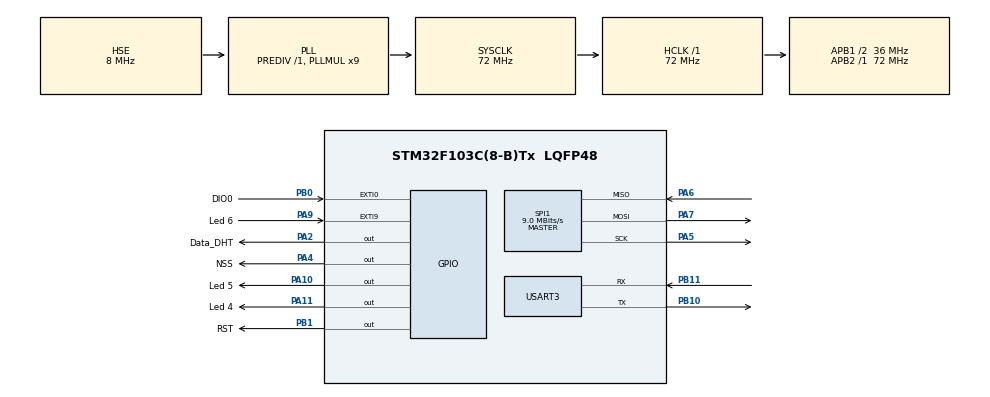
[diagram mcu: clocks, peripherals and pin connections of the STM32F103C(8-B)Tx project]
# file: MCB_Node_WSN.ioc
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Mcu.Family=STM32F1
Mcu.Name=STM32F103C(8-B)Tx
Mcu.Package=LQFP48
NVIC.EXTI0_IRQn=true\:0\:0\:false\:false\:true\:true\:true\:true
NVIC.PriorityGroup=NVIC_PRIORITYGROUP_4
NVIC.RTC_Alarm_IRQn=true\:0\:0\:false\:false\:true\:true\:true\:true
NVIC.RTC_IRQn=true\:0\:0\:false\:false\:true\:true\:true\:true
PA10.GPIO_Label=Led 5
PA10.Signal=GPIO_Output
PA11.GPIO_Label=Led 4
PA11.Signal=GPIO_Output
PA13.Mode=Serial_Wire
PA13.Signal=SYS_JTMS-SWDIO
PA14.Mode=Serial_Wire
PA14.Signal=SYS_JTCK-SWCLK
PA2.GPIO_Label=Data_DHT
PA2.Signal=GPIO_Output
PA4.GPIO_Label=NSS
PA4.Signal=GPIO_Output
PA5.Mode=Full_Duplex_Master
PA5.Signal=SPI1_SCK
PA6.Mode=Full_Duplex_Master
PA6.Signal=SPI1_MISO
PA7.Mode=Full_Duplex_Master
PA7.Signal=SPI1_MOSI
PA9.GPIO_Label=Led 6
PA9.Signal=GPXTI9
PB0.GPIO_Label=DIO0
PB0.Signal=GPXTI0
PB1.GPIO_Label=RST
PB1.Signal=GPIO_Output
PB10.Mode=Asynchronous
PB10.Signal=USART3_TX
PB11.Mode=Asynchronous
PB11.Signal=USART3_RX
PD0-OSC_IN.Mode=HSE-External-Oscillator
PD0-OSC_IN.Signal=RCC_OSC_IN
PD1-OSC_OUT.Mode=HSE-External-Oscillator
PD1-OSC_OUT.Signal=RCC_OSC_OUT
ProjectManager.HeapSize=0x200
ProjectManager.StackSize=0x400
ProjectManager.TargetToolchain=STM32CubeIDE
RCC.AHBFreq_Value=72000000
RCC.APB1CLKDivider=RCC_HCLK_DIV2
RCC.APB1Freq_Value=36000000
RCC.APB1TimFreq_Value=72000000
RCC.APB2Freq_Value=72000000
RCC.APB2TimFreq_Value=72000000
RCC.HCLKFreq_Value=72000000
RCC.PLLMUL=RCC_PLL_MUL9
RCC.PLLSourceVirtual=RCC_PLLSOURCE_HSE
RCC.SYSCLKFreq_VALUE=72000000
RCC.SYSCLKSource=RCC_SYSCLKSOURCE_PLLCLK
RCC.USBFreq_Value=72000000
SPI1.BaudRatePrescaler=SPI_BAUDRATEPRESCALER_8
SPI1.CalculateBaudRate=9.0 MBits/s
SPI1.Direction=SPI_DIRECTION_2LINES
SPI1.Mode=SPI_MODE_MASTER
SPI1.VirtualType=VM_MASTER
USART3.VirtualMode=VM_ASYNC
VP_RTC_VS_RTC_Activate.Mode=RTC_Enabled
board=custom

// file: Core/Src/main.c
/* USER CODE BEGIN Header */
/**
  ******************************************************************************
  * @file           : main.c
  * @brief          : Main program body
  ******************************************************************************
  * @attention
  *
  * Copyright (c) 2025 STMicroelectronics.
  * All rights reserved.
  *
  * This software is licensed under terms that can be found in the LICENSE file
  * in the root directory of this software component.
  * If no LICENSE file comes with this software, it is provided AS-IS.
  *
  ******************************************************************************
  */
/* USER CODE END Header */
#include "main.h"
#include "lora.h"
#include <string.h>
#include <stdio.h>
#include <stdbool.h>
#include "dht22.h"

RTC_HandleTypeDef hrtc;

SPI_HandleTypeDef hspi1;

UART_HandleTypeDef huart3;

/* USER CODE BEGIN PV */
char msg[64],buf[60];
char data_receive[80], data_th[40],data_register[30];
typedef struct {
    int id ;     // ID của Node
    float x;    // Tọa độ x
    float y;    // Tọa độ y
} Node;
Node node ={4,41.75165,42.36589};

int id_receive,stt;
int timeout_listen_request_data =0;
int restart = 0;
uint32_t now_tick,start_tick,end_tick;
float t_min, t_max, h_min, h_max,t_last,t,h;
 float T = 0, H = 0;
/* USER CODE BEGIN PV */
#ifdef	__GNUC__
		#define PUTCHAR_PROTOTYPE int	__io_putchar(int ch)
#else
		#define PUTCHAR_PROTOTYPE int fputc(int ch, FILE *f)
#endif
 PUTCHAR_PROTOTYPE
{
	HAL_UART_Transmit(&huart3, (uint8_t *)&ch,1,0xFFFF);
	return ch;
}
 lora_pins_t lora_pins;												// Structure variable for lora pins
 lora_t lora;
/* USER CODE END PV */

void SystemClock_Config(void);
static void MX_GPIO_Init(void);
static void MX_RTC_Init(void);
static void MX_SPI1_Init(void);
static void MX_USART3_UART_Init(void);

/* USER CODE BEGIN 0 */
void listen_Broadcast(void){
	//cấu hình lora
	lora_pins.dio0.port  = LORA_DIO0_PORT;
	lora_pins.dio0.pin   = LORA_DIO0_PIN;
	lora_pins.nss.port   = LORA_SS_PORT;				// NSS pin to which port is connected
	lora_pins.nss.pin    = LORA_SS_PIN;					// NSS pin to which pin is connected
	lora_pins.reset.port = LORA_RESET_PORT;			// RESET pin to which port is connected
	lora_pins.reset.pin  = LORA_RESET_PIN;			// RESET pin to which pin is connected
	lora_pins.spi  			 = &hspi1;
	lora.pin = &lora_pins;
	lora.frequency = FREQ_433MHZ;								// 433MHZ Frequency
	//lora.frequency = FREQ_865MHZ;								// 865MHZ Frequency
	//lora.frequency = FREQ_866MHZ;								// 866MHZ Frequency
	//lora.frequency = FREQ_867MHZ;								// 867MHZ Frequency
	lora.bandwidth = BW_125KHz;
	lora.powergain = POWER_20db;
	lora.spreadingfactor = SF_7;
	lora.codingrate = CR_4_5;
	sprintf(msg,"Configuring LoRa module\r\n");
	HAL_UART_Transmit(&huart3,(uint8_t *)msg,strlen(msg),1000);

	while(lora_init(&lora)){										// Initialize the lora module
		sprintf(msg,"LoRa Failed\r\n");
		HAL_UART_Transmit(&huart3,(uint8_t *)msg,strlen(msg),1000);
		HAL_Delay(1000);
	}
	sprintf(msg,"Done configuring LoRaModule\r\n");
	HAL_UART_Transmit(&huart3,(uint8_t *)msg,strlen(msg),1000);
	uint8_t ret =0;
	while(!ret){
	  ret = lora_prasePacket(&lora);
	  if(ret){
	   //Nhận gói tin
	   uint8_t i = 0;
	    while (lora_available(&lora)) {
	   buf[i++] = lora_read(&lora);
	   }
	   buf[i] = '\0'; // Kết thúc chuỗi
//	   sprintf(data_receive,"Da nhan duoc broadcast: %s\r\n",buf);
//	   HAL_UART_Transmit(&huart3, (uint8_t*)data_receive, strlen(data_receive), HAL_MAX_DELAY);
	   sprintf(data_receive,buf);
	   if(!strcmp(data_receive, "Open")){
		   break;
	   }
	   else{
		   ret =0;
	   }
	  }
	}
}

void send_register(char* data){
	// Gửi gói tin đăng ký
	lora_begin_packet(&lora);
	lora_tx(&lora, (uint8_t *)data, strlen(data));
	lora_end_packet(&lora);
//	sprintf(buf,"Da gui thong tin dang ky len Gateway\r\n");
//	HAL_UART_Transmit(&huart3, (uint8_t *)buf, strlen(buf), 1000);
}
bool check_and_parse_STT(const char *packet, int *id, int *stt, float *t_min, float *t_max, float *h_min, float *h_max) {
    // Kiểm tra định dạng gói tin
    if (sscanf(packet, "%d %d %f %f %f %f", id, stt, t_min, t_max, h_min, h_max) == 6) {
        // Kiểm tra tính hợp lệ của các giá trị
        return true; // Gói tin hợp lệ
    }
    return false; // Gói tin không hợp lệ
}
int listen_STT(void){
	uint8_t ret =0;
	now_tick = HAL_GetTick();
	while(!ret){
		ret = lora_prasePacket(&lora);
		if(ret){
			//Nhận gói tin
			uint8_t i = 0;
			while (lora_available(&lora)) {
				buf[i++] = lora_read(&lora);
			}
			buf[i] = '\0'; // Kết thúc chuỗi
			sprintf(data_receive,buf);
//			sprintf(buf,"Nhan duoc STT: %s\r\n",data_receive);
//		HAL_UART_Transmit(&huart3, (uint8_t *)buf, strlen(buf), 1000);
			if(check_and_parse_STT(data_receive, &id_receive, &stt, &t_min, &t_max, &h_min, &h_max)){
				if(node.id == id_receive){
//					sprintf(buf,"Nhan duoc STT hop le: %s\r\n",data_receive);
//					HAL_UART_Transmit(&huart3, (uint8_t *)buf, strlen(buf), 1000);
					return 1;
				}
				else{
//					sprintf(buf,"STT nhan ve co id khong khop\r\n");
//					HAL_UART_Transmit(&huart3, (uint8_t *)buf, strlen(buf), 1000);
					ret=0;
				}
		    }
			else{
//				sprintf(buf,"STT nhan duoc khong hop le\r\n");
//				HAL_UART_Transmit(&huart3, (uint8_t *)buf, strlen(buf), 1000);
				ret =0;
			}
		}
		if ((HAL_GetTick()-now_tick)>=300) //lắng nghe STT trong 100ms
					return 0;
	}
}

//Hàm check gói tin yêu cầu gửi data từ GW
bool check_request_data(const char *str, int targetId) {
    // Tạo buffer tạm thời để so sánh
    char idBuffer[16]; // Kích thước đủ để chứa id dạng chuỗi
    snprintf(idBuffer, sizeof(idBuffer), "%d R", targetId); // Tạo chuỗi "id R"
    // So sánh chuỗi nhận được với chuỗi mong đợi
    int x=strncmp(str, idBuffer, strlen(idBuffer));
    if (!x) {
    	return 1;
    }
    else {
    	return 0;
    }
}

int listen_request_data(void) {
    uint8_t ret = 0;
    uint32_t now_tick = HAL_GetTick();
    uint8_t i = 0;
    memset(buf, 0, sizeof(buf)); // Xóa buffer trước khi sử dụng
    while (!ret) {
    	if ((HAL_GetTick() - now_tick) >= 9000) {
//    	   sprintf(buf, "Time out on listen request data\r\n");
//    	   HAL_UART_Transmit(&huart3, (uint8_t *)buf, strlen(buf), 1000);
    	   restart = 1;
    	   break;
    	}
        ret = lora_prasePacket(&lora);
        if (ret) {
//        	sprintf(buf, "Dang nhan goi tin...\r\n");
//        	HAL_UART_Transmit(&huart3, (uint8_t *)buf, strlen(buf), 1000);
            // Nhận gói tin
            i = 0;
            while (lora_available(&lora) && i < sizeof(buf) - 1) {
                buf[i++] = lora_read(&lora);
            }
            buf[i] = '\0'; // Kết thúc chuỗi

            sprintf(data_receive, buf);
//            sprintf(buf, "Nhan duoc goi tin: %s\r\n",data_receive);
//            HAL_UART_Transmit(&huart3, (uint8_t *)buf, strlen(buf), 1000);
            if (check_request_data(data_receive, node.id)) {
//            	sprintf(buf, "Request hop le\r\n");
//            	HAL_UART_Transmit(&huart3, (uint8_t *)buf, strlen(buf), 1000);
                return 1;
            } else {
//            	sprintf(buf, "Request khong hop le\r\n");
//            	HAL_UART_Transmit(&huart3, (uint8_t *)buf, strlen(buf), 1000);
                ret = 0;
            }
        }

    }
    return 0; // Thêm giá trị trả về để tránh thiếu kết thúc
}

void send_data(char* data){
	// Gửi gói tin data
	lora_begin_packet(&lora);
	lora_tx(&lora, (uint8_t *)data, strlen(data));
	lora_end_packet(&lora);
//	sprintf(buf,"Da gui du lieu t&h len Gateway T=%.1f H=%.1f\r\n",T,H);
//	HAL_UART_Transmit(&huart3, (uint8_t *)buf, strlen(buf), 1000);
}

int listen_ok(void){
	uint8_t ret =0;
	now_tick=HAL_GetTick();
	while(!ret){
		if((HAL_GetTick()-now_tick)>=400){
//			sprintf(buf,"time out on listen_ok\r\n");
//			HAL_UART_Transmit(&huart3, (uint8_t *)buf, strlen(buf),1000);
			return 0;
		}
		ret = lora_prasePacket(&lora);
		if(ret){
		//Nhận gói tin
			uint8_t i = 0;
			while (lora_available(&lora)) {
				buf[i++] = lora_read(&lora);
			}
			buf[i] = '\0'; // Kết thúc chuỗi
			sprintf(data_receive,buf);
			sprintf(buf,"%d Ok",node.id);
			if(!strcasecmp(data_receive,buf)){
				start_tick=HAL_GetTick()-start_tick;
//				sprintf(buf,"Da nhan duoc Ok tu GW, tong thoi gian: %d\r\n",start_tick);
//				HAL_UART_Transmit(&huart3, (uint8_t *)buf, strlen(buf),1000);
				return 1;
			}
			else ret=0;
		}
	}
}

// Hàm đưa vi điều khiển vào chế độ ngủ trong thời gian tùy chọn (tính bằng giây)

/* USER CODE END 0 */

int main(void)
{

  /* MCU Configuration--------------------------------------------------------*/

  /* Reset of all peripherals, Initializes the Flash interface and the Systick. */
  HAL_Init();

  /* Configure the system clock */
  SystemClock_Config();

  /* Initialize all configured peripherals */
  MX_GPIO_Init();
  MX_RTC_Init();
  MX_SPI1_Init();
  MX_USART3_UART_Init();
  HAL_GPIO_WritePin(GPIOA,GPIO_PIN_11,GPIO_PIN_SET);
  HAL_GPIO_WritePin(GPIOA,GPIO_PIN_10,GPIO_PIN_SET);
  HAL_GPIO_WritePin(GPIOA,GPIO_PIN_9,GPIO_PIN_SET);
  dht22_init();
  DHT22_GetTemp_Humidity(&T, &H);
  sprintf(data_th,"%d %.1f %.1f",node.id,T/2.0,H);

  sprintf(data_register, "%d %.5f %.5f",node.id,node.x,node.y);
  /* USER CODE BEGIN 2 */
  //DHT22_GetTemp_Humidity(&T, &H);
  /* USER CODE END 2 */

  /* Infinite loop */
  while (1)
  {
	  restart =0;
	  int count_send_register =0;
	  int count_send_data=0;
	  listen_Broadcast();
	  send_register(data_register);
	  while(!listen_STT()){
		  if(count_send_register < 5){
			  send_register(data_register);
			  count_send_register++;
		  }
		  else{
			  restart =1;
			  break;
		  }
	  }
	  if(restart) continue;

	  listen_request_data();
	  if(restart) continue;
	  send_data(data_th);
	  while(!listen_ok()){
		  if(count_send_data <5){
			  send_data(data_th);
			  count_send_data++;
		  }
		  else{
			  restart=1;
			  break;
		  }
	  }
	  T=T/2.0;
	  	if( T> t_max)
	  	  	  	  	{
	  	  	  	  		HAL_GPIO_WritePin(GPIOA,GPIO_PIN_11,GPIO_PIN_SET);
	  	  	  	  	}
	  	  	  	  	  else
	  	  	  	  	  {
	  	  	  	  		HAL_GPIO_WritePin(GPIOA,GPIO_PIN_11,GPIO_PIN_RESET);
	  	  	  	  	  }
	  	  	  	  	if(T < t_min)
	  	  	  	  	{
	  	  	  	  		HAL_GPIO_WritePin(GPIOA,GPIO_PIN_9,GPIO_PIN_SET);
	  	  	  	  	}
	  	  	  	  	  else
	  	  	  	  	  {
	  	  	  	  		HAL_GPIO_WritePin(GPIOA,GPIO_PIN_9,GPIO_PIN_RESET);
	  	  	  	  	  }
	  	  	  	  	if (T >= t_min && T <= t_max)
	  	  	  	  	{
	  	  	  	  		HAL_GPIO_WritePin(GPIOA,GPIO_PIN_10,GPIO_PIN_SET);
	  	  	  	  	}
	  	  	  	  	  else
	  	  	  	  	  {
	  	  	  	  		HAL_GPIO_WritePin(GPIOA,GPIO_PIN_10,GPIO_PIN_RESET);
	  	  	  	  	  }
	  //if(restart) continue;

	  HAL_Delay(7000);
	  DHT22_GetTemp_Humidity(&T, &H);
	  sprintf(data_th,"%d %.1f %.1f",node.id,T/2.0,H);
  }
}
void SystemClock_Config(void)
{
  RCC_OscInitTypeDef RCC_OscInitStruct = {0};
  RCC_ClkInitTypeDef RCC_ClkInitStruct = {0};
  RCC_PeriphCLKInitTypeDef PeriphClkInit = {0};

  /** Initializes the RCC Oscillators according to the specified parameters
  * in the RCC_OscInitTypeDef structure.
  */
  RCC_OscInitStruct.OscillatorType = RCC_OSCILLATORTYPE_LSI|RCC_OSCILLATORTYPE_HSE;
  RCC_OscInitStruct.HSEState = RCC_HSE_ON;
  RCC_OscInitStruct.HSEPredivValue = RCC_HSE_PREDIV_DIV1;
  RCC_OscInitStruct.HSIState = RCC_HSI_ON;
  RCC_OscInitStruct.LSIState = RCC_LSI_ON;
  RCC_OscInitStruct.PLL.PLLState = RCC_PLL_ON;
  RCC_OscInitStruct.PLL.PLLSource = RCC_PLLSOURCE_HSE;
  RCC_OscInitStruct.PLL.PLLMUL = RCC_PLL_MUL9;
  if (HAL_RCC_OscConfig(&RCC_OscInitStruct) != HAL_OK)
  {
    Error_Handler();
  }

  /** Initializes the CPU, AHB and APB buses clocks
  */
  RCC_ClkInitStruct.ClockType = RCC_CLOCKTYPE_HCLK|RCC_CLOCKTYPE_SYSCLK
                              |RCC_CLOCKTYPE_PCLK1|RCC_CLOCKTYPE_PCLK2;
  RCC_ClkInitStruct.SYSCLKSource = RCC_SYSCLKSOURCE_PLLCLK;
  RCC_ClkInitStruct.AHBCLKDivider = RCC_SYSCLK_DIV1;
  RCC_ClkInitStruct.APB1CLKDivider = RCC_HCLK_DIV2;
  RCC_ClkInitStruct.APB2CLKDivider = RCC_HCLK_DIV1;

  if (HAL_RCC_ClockConfig(&RCC_ClkInitStruct, FLASH_LATENCY_2) != HAL_OK)
  {
    Error_Handler();
  }
  PeriphClkInit.PeriphClockSelection = RCC_PERIPHCLK_RTC;
  PeriphClkInit.RTCClockSelection = RCC_RTCCLKSOURCE_LSI;
  if (HAL_RCCEx_PeriphCLKConfig(&PeriphClkInit) != HAL_OK)
  {
    Error_Handler();
  }
}

static void MX_RTC_Init(void)
{

  /** Initialize RTC Only
  */
  hrtc.Instance = RTC;
  hrtc.Init.AsynchPrediv = RTC_AUTO_1_SECOND;
  hrtc.Init.OutPut = RTC_OUTPUTSOURCE_ALARM;
  if (HAL_RTC_Init(&hrtc) != HAL_OK)
  {
    Error_Handler();
  }

}

static void MX_SPI1_Init(void)
{

  /* SPI1 parameter configuration*/
  hspi1.Instance = SPI1;
  hspi1.Init.Mode = SPI_MODE_MASTER;
  hspi1.Init.Direction = SPI_DIRECTION_2LINES;
  hspi1.Init.DataSize = SPI_DATASIZE_8BIT;
  hspi1.Init.CLKPolarity = SPI_POLARITY_LOW;
  hspi1.Init.CLKPhase = SPI_PHASE_1EDGE;
  hspi1.Init.NSS = SPI_NSS_SOFT;
  hspi1.Init.BaudRatePrescaler = SPI_BAUDRATEPRESCALER_8;
  hspi1.Init.FirstBit = SPI_FIRSTBIT_MSB;
  hspi1.Init.TIMode = SPI_TIMODE_DISABLE;
  hspi1.Init.CRCCalculation = SPI_CRCCALCULATION_DISABLE;
  hspi1.Init.CRCPolynomial = 10;
  if (HAL_SPI_Init(&hspi1) != HAL_OK)
  {
    Error_Handler();
  }

}

static void MX_USART3_UART_Init(void)
{

  huart3.Instance = USART3;
  huart3.Init.BaudRate = 115200;
  huart3.Init.WordLength = UART_WORDLENGTH_8B;
  huart3.Init.StopBits = UART_STOPBITS_1;
  huart3.Init.Parity = UART_PARITY_NONE;
  huart3.Init.Mode = UART_MODE_TX_RX;
  huart3.Init.HwFlowCtl = UART_HWCONTROL_NONE;
  huart3.Init.OverSampling = UART_OVERSAMPLING_16;
  if (HAL_UART_Init(&huart3) != HAL_OK)
  {
    Error_Handler();
  }

}

static void MX_GPIO_Init(void)
{
  GPIO_InitTypeDef GPIO_InitStruct = {0};

  /* GPIO Ports Clock Enable */
  __HAL_RCC_GPIOD_CLK_ENABLE();
  __HAL_RCC_GPIOA_CLK_ENABLE();
  __HAL_RCC_GPIOB_CLK_ENABLE();

  /*Configure GPIO pin Output Level */
  HAL_GPIO_WritePin(GPIOA, Data_DHT_Pin|NSS_Pin|Led_6_Pin|Led_5_Pin|Led_4_Pin, GPIO_PIN_RESET);

  /*Configure GPIO pin Output Level */
  HAL_GPIO_WritePin(RST_GPIO_Port, RST_Pin, GPIO_PIN_RESET);

  /*Configure GPIO pins : Data_DHT_Pin NSS_Pin Led_5_Pin Led_4_Pin */
  GPIO_InitStruct.Pin = Data_DHT_Pin|NSS_Pin|Led_6_Pin|Led_5_Pin|Led_4_Pin;
  GPIO_InitStruct.Mode = GPIO_MODE_OUTPUT_PP;
  GPIO_InitStruct.Pull = GPIO_NOPULL;
  GPIO_InitStruct.Speed = GPIO_SPEED_FREQ_LOW;
  HAL_GPIO_Init(GPIOA, &GPIO_InitStruct);

  /*Configure GPIO pin : DIO0_Pin */
  GPIO_InitStruct.Pin = DIO0_Pin;
  GPIO_InitStruct.Mode = GPIO_MODE_IT_RISING;
  GPIO_InitStruct.Pull = GPIO_NOPULL;
  HAL_GPIO_Init(DIO0_GPIO_Port, &GPIO_InitStruct);

  /*Configure GPIO pin : RST_Pin */
  GPIO_InitStruct.Pin = RST_Pin;
  GPIO_InitStruct.Mode = GPIO_MODE_OUTPUT_PP;
  GPIO_InitStruct.Pull = GPIO_NOPULL;
  GPIO_InitStruct.Speed = GPIO_SPEED_FREQ_LOW;
  HAL_GPIO_Init(RST_GPIO_Port, &GPIO_InitStruct);

  /* EXTI interrupt init*/
  HAL_NVIC_SetPriority(EXTI0_IRQn, 0, 0);
  HAL_NVIC_EnableIRQ(EXTI0_IRQn);

}

//void HAL_GPIO_EXTI_Callback(uint16_t GPIO_Pin){
//	sprintf(data_receive,"Da vao ngat\r\n");
//	HAL_UART_Transmit(&huart3, (uint8_t *)data_receive, strlen(data_receive),1000);
//	if(GPIO_Pin = DIO0_Pin){
//		uint8_t i=0;
//		while (lora_available(&lora)) {
//				buf[i++] = lora_read(&lora);
//				}
//				buf[i] = '\0'; // Kết thúc chuỗi
//				sprintf(data_receive,"%s\r\n",buf);
//				HAL_UART_Transmit(&huart3, (uint8_t *)data_receive, strlen(data_receive),1000);
//
//	}
//}
void Error_Handler(void)
{
  __disable_irq();
  while (1)
  {
  }
}
